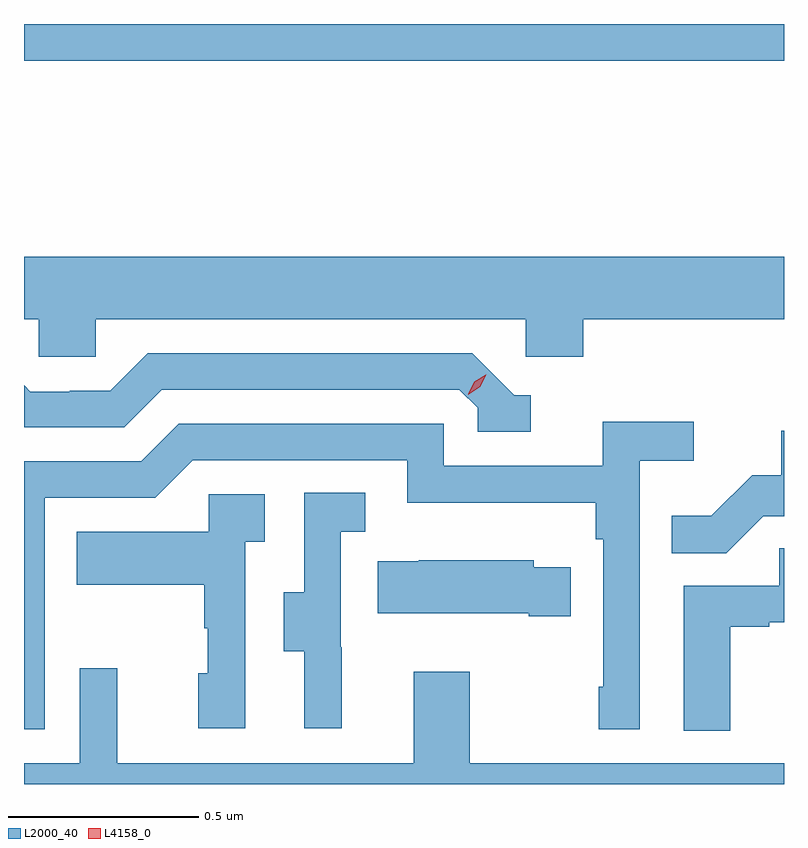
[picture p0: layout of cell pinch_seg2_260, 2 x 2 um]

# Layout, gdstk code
import gdstk
lib = gdstk.Library(unit=1e-6, precision=1e-09)
def R(c, l, rs):  # rectangles x0, y0, x1, y1
    for r in rs: c.add(gdstk.rectangle(r[:2], r[2:], *l))
def P(c, l, *ps):  # polygons
    for p in ps: c.add(gdstk.Polygon(p, *l))
L2000_40 = (2000, 40)
L4158_0 = (4158, 0)

pinch_seg2_260 = lib.new_cell('pinch_seg2_260')
R(pinch_seg2_260, L2000_40, [(932.634,664.3,934.634,664.397)])
P(pinch_seg2_260, L2000_40, [(932.823,663.62),(933.954,663.62),(933.954,663.522),(934.106,663.522),(934.106,663.62),(934.634,663.62),(934.634,663.784),(932.634,663.784),(932.634,663.62),(932.673,663.62),(932.673,663.522),(932.823,663.522)],
  [(933.967,663.42),(933.924,663.42),(933.813,663.531),(932.96,663.531),(932.861,663.432),(932.754,663.432),(932.754,663.429),(932.651,663.429),(932.634,663.446),(932.634,663.336),(932.898,663.336),(932.997,663.435),(933.78,663.435),(933.828,663.387),(933.828,663.324),(933.967,663.324)],
  [(932.688,663.15),(932.979,663.15),(933.078,663.249),(933.642,663.249),(933.642,663.137),(934.138,663.137),(934.138,663.041),(934.158,663.041),(934.158,662.653),(934.146,662.653),(934.146,662.541),(934.254,662.541),(934.254,663.248),(934.396,663.248),(934.396,663.35),(934.157,663.35),(934.157,663.234),(933.738,663.234),(933.738,663.345),(933.041,663.345),(932.942,663.246),(932.634,663.246),(932.634,662.541),(932.688,662.541)],
  [(934.58,663.102),(934.634,663.102),(934.634,663.327),(934.627,663.327),(934.627,663.21),(934.55,663.21),(934.443,663.103),(934.339,663.103),(934.339,663.004),(934.482,663.004)],
  [(933.47,662.757),(933.468,662.757),(933.468,663.061),(933.532,663.061),(933.532,663.164),(933.372,663.164),(933.372,662.901),(933.317,662.901),(933.317,662.746),(933.371,662.746),(933.371,662.544),(933.47,662.544)],
  [(933.216,663.035),(933.268,663.035),(933.268,663.159),(933.12,663.159),(933.12,663.061),(932.773,663.061),(932.773,662.921),(933.108,662.921),(933.108,662.807),(933.118,662.807),(933.118,662.688),(933.092,662.688),(933.092,662.544),(933.216,662.544)],
  [(934.492,662.811),(934.595,662.811),(934.595,662.823),(934.634,662.823),(934.634,663.017),(934.621,663.017),(934.621,662.919),(934.37,662.919),(934.37,662.537),(934.492,662.537)],
  [(934.073,662.968),(933.975,662.968),(933.975,662.986),(933.673,662.986),(933.673,662.983),(933.565,662.983),(933.565,662.846),(933.962,662.846),(933.962,662.839),(934.073,662.839)],
  [(934.634,662.452),(933.807,662.452),(933.807,662.692),(933.659,662.692),(933.659,662.452),(932.879,662.452),(932.879,662.701),(932.781,662.701),(932.781,662.452),(932.634,662.452),(932.634,662.397),(934.634,662.397)])
P(pinch_seg2_260, L4158_0, [(933.803,663.422),(933.803,663.423),(933.819,663.455),(933.849,663.474),(933.85,663.474),(933.85,663.474),(933.834,663.442),(933.803,663.422)])

lib.write_gds('pinch_seg2_260.gds')
